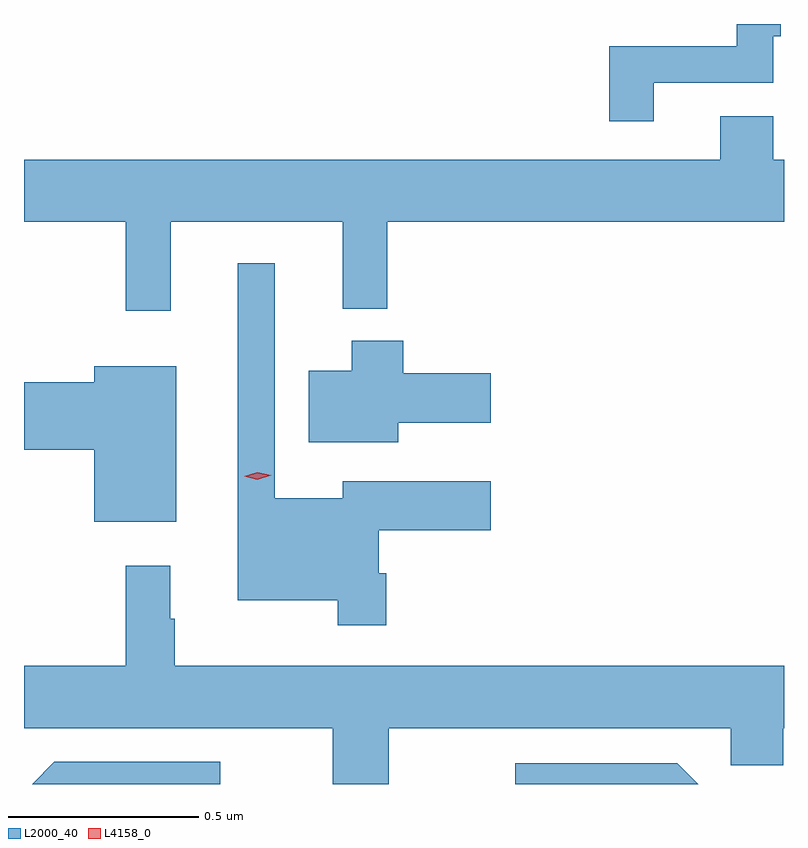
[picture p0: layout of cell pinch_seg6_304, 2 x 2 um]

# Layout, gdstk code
import gdstk
lib = gdstk.Library(unit=1e-6, precision=1e-09)
def P(c, l, *ps):  # polygons
    for p in ps: c.add(gdstk.Polygon(p, *l))
L2000_40 = (2000, 40)
L4158_0 = (4158, 0)

pinch_seg6_304 = lib.new_cell('pinch_seg6_304')
P(pinch_seg6_304, L2000_40, [(772,977.007),(772.315,977.007),(772.315,977.129),(772.334,977.129),(772.334,977.161),(772.218,977.161),(772.218,977.103),(771.883,977.103),(771.883,976.905),(772,976.905)],
  [(770.729,976.64),(771.182,976.64),(771.182,976.412),(771.299,976.412),(771.299,976.64),(772.343,976.64),(772.343,976.804),(772.315,976.804),(772.315,976.918),(772.175,976.918),(772.175,976.804),(770.343,976.804),(770.343,976.64),(770.611,976.64),(770.611,976.407),(770.729,976.407)],
  [(771.296,975.716),(771.277,975.716),(771.277,975.829),(771.571,975.829),(771.571,975.958),(771.182,975.958),(771.182,975.913),(771.003,975.913),(771.003,976.531),(770.906,976.531),(770.906,975.644),(771.168,975.644),(771.168,975.579),(771.296,975.579)],
  [(771.328,976.112),(771.571,976.112),(771.571,976.242),(771.341,976.242),(771.341,976.327),(771.206,976.327),(771.206,976.249),(771.092,976.249),(771.092,976.061),(771.328,976.061)],
  [(770.743,976.261),(770.528,976.261),(770.528,976.218),(770.343,976.218),(770.343,976.04),(770.528,976.04),(770.528,975.851),(770.743,975.851)],
  [(771.303,975.308),(772.203,975.308),(772.203,975.21),(772.341,975.21),(772.341,975.308),(772.343,975.308),(772.343,975.472),(770.74,975.472),(770.74,975.596),(770.728,975.596),(770.728,975.736),(770.611,975.736),(770.611,975.472),(770.343,975.472),(770.343,975.308),(771.155,975.308),(771.155,975.161),(771.303,975.161)],
  [(770.86,975.219),(770.423,975.219),(770.365,975.161),(770.86,975.161)],
  [(772.062,975.216),(771.636,975.216),(771.636,975.161),(772.117,975.161)])
P(pinch_seg6_304, L4158_0, [(770.957,975.962),(770.922,975.971),(770.921,975.971),(770.922,975.971),(770.957,975.982),(770.993,975.974),(770.993,975.974),(770.993,975.973)])

lib.write_gds('pinch_seg6_304.gds')
